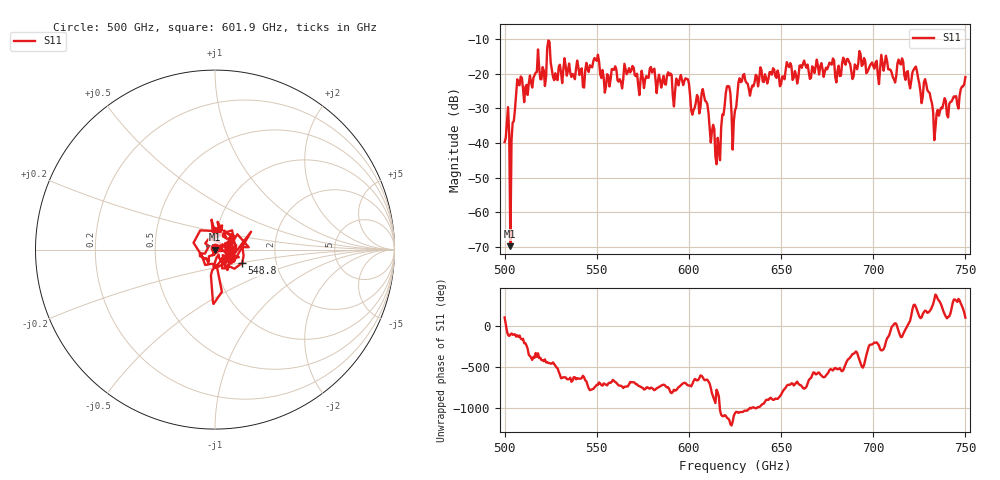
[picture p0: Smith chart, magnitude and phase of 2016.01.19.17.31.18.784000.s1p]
!Created with skrf (http://scikit-rf.org).
# GHz S RI R 50.0
!freq ReS11 ImS11
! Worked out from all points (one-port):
!   401 points, 500 GHz to 750 GHz, reference 50 ohm
!   lowest |S11| = -69.8 dB at 503.1 GHz (marker M1), VSWR 1.00, Z = 50 - j0.0308 ohm
!   |S11| at or under -10 dB: start of sweep to end of sweep
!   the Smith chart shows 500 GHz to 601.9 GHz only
!   S11 on the Smith chart (normalised r, x): 500 GHz: 1.00, +0.02; 548.8 GHz: 1.34, -0.20; 601.9 GHz: 1.05, +0.01
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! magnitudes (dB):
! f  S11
! 500 GHz  -39.8
! 503.1 GHz  -69.8
! 504.4 GHz  -34.1
! 505.6 GHz  -30.3
! 508.1 GHz  -23.3
! 521.2 GHz  -19.1
! 524.4 GHz  -10.8
! 527.5 GHz  -19.9
! 531.2 GHz  -22.7
! 548.8 GHz  -15.5
! 562.5 GHz  -21.6
! 568.8 GHz  -19.1
! 593.8 GHz  -22.2
! 598.8 GHz  -21.5
! 601.9 GHz  -31.8
! 608.1 GHz  -26.1
! 615.6 GHz  -38.5
! 621.2 GHz  -23.6
! 625 GHz  -30.6
! 628.8 GHz  -22.2
! 656.2 GHz  -21.8
! 687.5 GHz  -17.2
! 711.2 GHz  -21.6
! 715 GHz  -17.3
! 718.8 GHz  -19.3
! 728.8 GHz  -22.9
! 734.4 GHz  -31.5
! 750 GHz  -21.0
